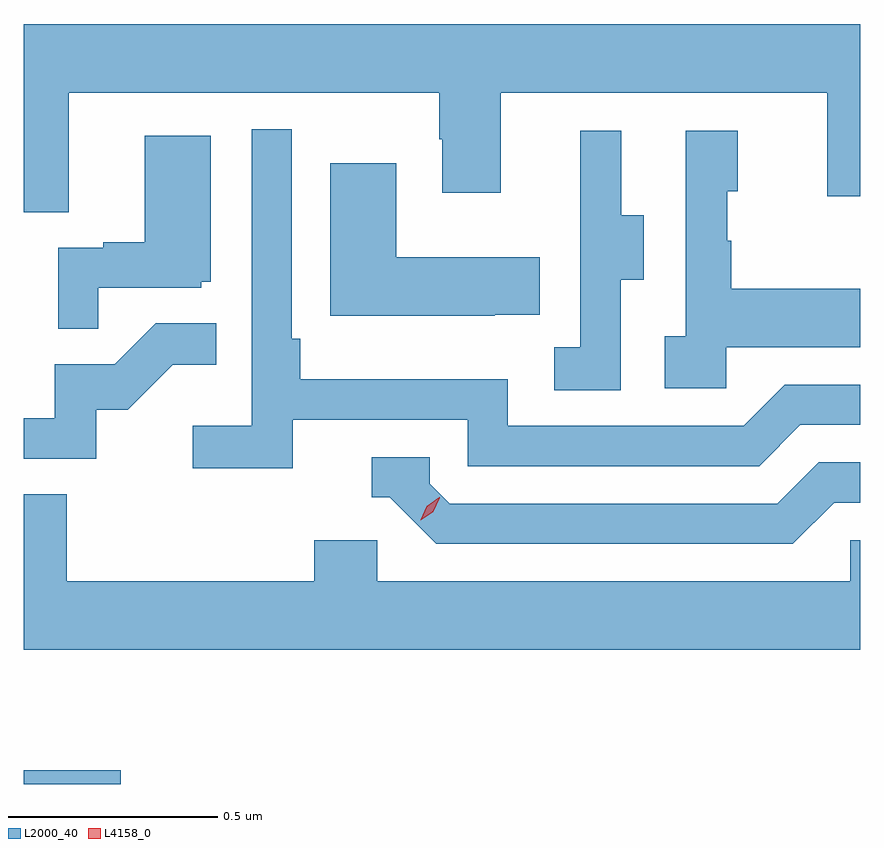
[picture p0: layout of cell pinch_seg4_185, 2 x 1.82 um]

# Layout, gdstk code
import gdstk
lib = gdstk.Library(unit=1e-6, precision=1e-09)
def R(c, l, rs):  # rectangles x0, y0, x1, y1
    for r in rs: c.add(gdstk.rectangle(r[:2], r[2:], *l))
def P(c, l, *ps):  # polygons
    for p in ps: c.add(gdstk.Polygon(p, *l))
L2000_40 = (2000, 40)
L4158_0 = (4158, 0)

pinch_seg4_185 = lib.new_cell('pinch_seg4_185')
R(pinch_seg4_185, L2000_40, [(1103.227,796.499,1103.459,796.532)])
P(pinch_seg4_185, L2000_40, [(1103.335,798.152),(1104.22,798.152),(1104.22,798.041),(1104.227,798.041),(1104.227,797.913),(1104.367,797.913),(1104.367,798.152),(1105.148,798.152),(1105.148,797.904),(1105.227,797.904),(1105.227,798.316),(1103.227,798.316),(1103.227,797.866),(1103.335,797.866)],
  [(1103.87,797.37),(1104.288,797.37),(1104.288,797.259),(1104.985,797.259),(1105.084,797.358),(1105.227,797.358),(1105.227,797.454),(1105.047,797.454),(1104.948,797.355),(1104.384,797.355),(1104.384,797.467),(1103.888,797.467),(1103.888,797.563),(1103.868,797.563),(1103.868,798.064),(1103.772,798.064),(1103.772,797.356),(1103.631,797.356),(1103.631,797.254),(1103.87,797.254)],
  [(1104.654,797.704),(1104.709,797.704),(1104.709,797.859),(1104.655,797.859),(1104.655,798.061),(1104.557,798.061),(1104.557,797.847),(1104.558,797.847),(1104.558,797.543),(1104.495,797.543),(1104.495,797.44),(1104.654,797.44)],
  [(1104.906,797.543),(1105.227,797.543),(1105.227,797.683),(1104.919,797.683),(1104.919,797.798),(1104.909,797.798),(1104.909,797.916),(1104.934,797.916),(1104.934,798.061),(1104.81,798.061),(1104.81,797.57),(1104.759,797.57),(1104.759,797.445),(1104.906,797.445)],
  [(1103.405,797.685),(1103.652,797.685),(1103.652,797.7),(1103.674,797.7),(1103.674,798.049),(1103.516,798.049),(1103.516,797.794),(1103.417,797.794),(1103.417,797.781),(1103.31,797.781),(1103.31,797.587),(1103.405,797.587)],
  [(1104.353,797.621),(1104.461,797.621),(1104.461,797.758),(1104.118,797.758),(1104.118,797.983),(1103.96,797.983),(1103.96,797.618),(1104.353,797.618)],
  [(1103.4,797.394),(1103.476,797.394),(1103.583,797.501),(1103.687,797.501),(1103.687,797.6),(1103.543,797.6),(1103.445,797.502),(1103.301,797.502),(1103.301,797.373),(1103.227,797.373),(1103.227,797.277),(1103.4,797.277)],
  [(1105.165,797.172),(1105.227,797.172),(1105.227,797.268),(1105.128,797.268),(1105.029,797.169),(1104.246,797.169),(1104.198,797.217),(1104.198,797.28),(1104.059,797.28),(1104.059,797.184),(1104.102,797.184),(1104.213,797.073),(1105.066,797.073)],
  [(1105.227,797.082),(1105.203,797.082),(1105.203,796.984),(1104.072,796.984),(1104.072,797.082),(1103.921,797.082),(1103.921,796.984),(1103.33,796.984),(1103.33,797.192),(1103.227,797.192),(1103.227,796.82),(1105.227,796.82)])
P(pinch_seg4_185, L4158_0, [(1104.176,797.13),(1104.176,797.131),(1104.191,797.163),(1104.221,797.184),(1104.222,797.184),(1104.222,797.183),(1104.206,797.15),(1104.176,797.13)])

lib.write_gds('pinch_seg4_185.gds')
